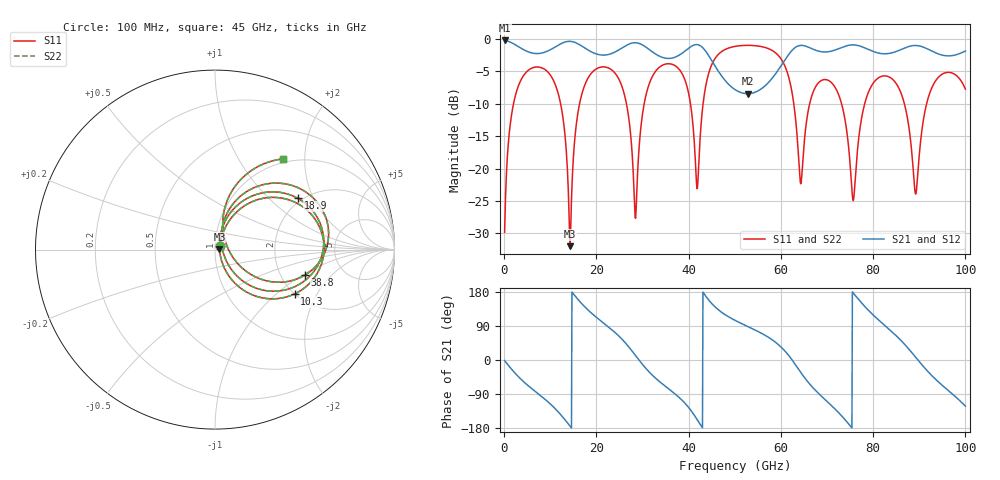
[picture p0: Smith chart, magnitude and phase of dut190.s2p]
! Touchstone file exported from HFSS 2026.1.0
!  File:  C:/ffzhzh/LocalFiles/Ansys_Project_Files/temp_train_TSV_RDL_190_1783655319_29156.aedt
!  Generated:  12:13:32 PM Jul 10, 2026
!  Design:  TSV_RDL
!  Project:  temp_train_TSV_RDL_190_1783655319_29156
! Variables:
!  h_bsmrdl = 2.95um
!  h_ox = 20um
!  h_rdl = 5um
!  h_sub = 65.89um
!  h_tmrdl = 2.31um
!  h_tsv = 65.89um
!  h_via = 3um
!  l_bsmrdl = 301.12um
!  l_sub = 4196.65um
!  l_tmrdl = 686.88um
!  m_sub = 200um
!  pitch = 57.51um
!  r_tsv = 7.15um
!  s_tmrdl = 10um
!  w_bsmrdl = 29.09um
!  w_sub = 500um
!  w_tmrdl = 19.5um
!  x_tsv_center1 = 696.63um
!  x_tsv_center2 = 1026.84um
!  x_tsv_center3 = 1733.22um
!  x_tsv_center4 = 2063.43um
!  x_tsv_center5 = 2769.81um
!  x_tsv_center6 = 3100.02um
# GHz S MA R 50.000000
! Terminal data exported
! Port[1] = TM_RDL1_1_T1
! Port[2] = TM_RDL5_1_T1
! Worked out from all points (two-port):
!   1000 points, 100 MHz to 100 GHz, reference 50 ohm
!   highest |S21| = -0.24 dB at 100 MHz (marker M1); lowest = -8.4 dB at 52.8 GHz (marker M2)
!   |S21| within 3 dB of the highest: start of sweep to 44.92 GHz; 60.88 GHz to end of sweep
!   lowest |S11| = -32.0 dB at 14.3 GHz (marker M3), VSWR 1.05, Z = 52.6 + j0.381 ohm
!   |S11| at or under -10 dB: 12.24 GHz to 16.35 GHz (4.111 GHz wide, 28.8 % of centre); 73.15 GHz to 78.17 GHz (5.019 GHz wide, 6.63 % of centre); 86.77 GHz to 91.6 GHz (4.824 GHz wide, 5.41 % of centre)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
!   |S22| runs from -31.9 to -1.0 dB; largest |S21 - S12| = 6e-12
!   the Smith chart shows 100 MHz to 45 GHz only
!   S11 on the Smith chart (normalised r, x): 100 MHz: 1.06, +0.04; 10.3 GHz: 2.00, -1.33; 18.9 GHz: 1.90, +1.54; 38.8 GHz: 2.71, -1.06; 45 GHz: 0.94, +1.58
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0.1  0.03219 32.7  0.9732 -1.6  0.9732 -1.6  0.03219 32.7
! Gamma 0 0 0 0
! Port Impedance 50 0 50 0
3  0.4255 43.1  0.8755 -42.9  0.8755 -42.9  0.4255 43.1
10.3  0.5074 -29.2  0.8357 -119.3  0.8357 -119.3  0.5074 -29.2
14.3  0.02517 8.3  0.9579 -174.6  0.9579 -174.6  0.02537 8.2
16.8  0.3706 54.6  0.8828 148.9  0.8828 148.9  0.3706 54.6
18.9  0.5431 31.7  0.7951 124.0  0.7951 124.0  0.543 31.7
25.4  0.4436 -30.8  0.8453 56.7  0.8453 56.7  0.4435 -30.7
28.5  0.04128 19.9  0.9346 11.6  0.9346 11.6  0.04146 20.1
33.4  0.5935 33.6  0.7444 -54.0  0.7444 -54.0  0.5935 33.6
38.8  0.5211 -15.8  0.786 -108.9  0.786 -108.9  0.5211 -15.8
41.8  0.06997 13.2  0.9045 -156.3  0.9045 -156.3  0.07027 13.3
45  0.6324 53.1  0.6813 149.1  0.6813 149.1  0.6325 53.1
50.1  0.8766 12.7  0.4054 104.4  0.4054 104.4  0.8766 12.7
52.8  0.8924 -1.9  0.3781 88.5  0.3781 88.5  0.8925 -1.9
60.9  0.6138 -60.4  0.6909 23.3  0.6909 23.3  0.6135 -60.5
64.3  0.07625 -30.7  0.8914 -32.6  0.8914 -32.6  0.07486 -30.6
66.7  0.3641 12.9  0.841 -69.9  0.841 -69.9  0.364 13.1
72.2  0.3947 -40.8  0.8324 -135.0  0.8324 -135.0  0.3946 -40.8
75.3  0.07672 -41.3  0.899 -177.6  0.899 -177.6  0.07607 -41.6
83.4  0.5102 -7.4  0.7725 81.9  0.7725 81.9  0.5102 -7.3
90  0.1274 55.7  0.8834 -4.3  0.8834 -4.3  0.1265 56.5
100  0.4099 -25.3  0.8066 -121.6  0.8066 -121.6  0.4098 -25.1
